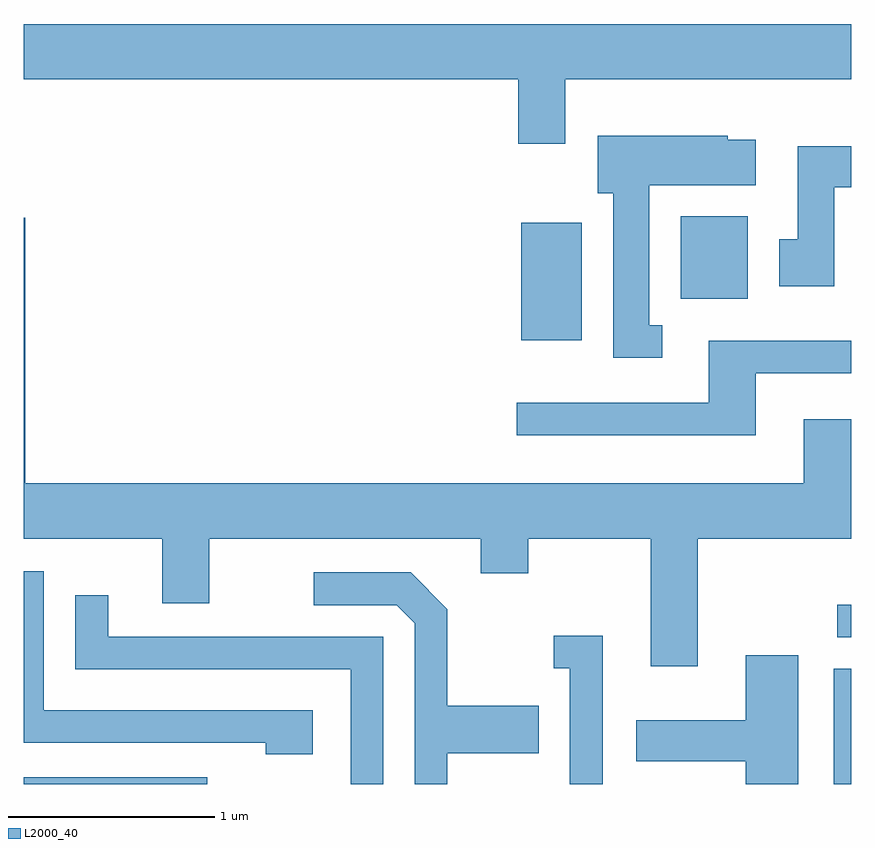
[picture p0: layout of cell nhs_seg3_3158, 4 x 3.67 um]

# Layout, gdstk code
import gdstk
lib = gdstk.Library(unit=1e-6, precision=1e-09)
def R(c, l, rs):  # rectangles x0, y0, x1, y1
    for r in rs: c.add(gdstk.rectangle(r[:2], r[2:], *l))
def P(c, l, *ps):  # polygons
    for p in ps: c.add(gdstk.Polygon(p, *l))
L2000_40 = (2000, 40)

nhs_seg3_3158 = lib.new_cell('nhs_seg3_3158')
R(nhs_seg3_3158, L2000_40, [(277.611,1175.892,278.498,1175.924), (281.526,1175.892,281.611,1176.449), (281.543,1176.601,281.611,1176.759), (280.016,1178.036,280.309,1178.604), (280.786,1178.236,281.109,1178.634)])
P(nhs_seg3_3158, L2000_40, [(280.229,1179.296),(281.611,1179.296),(281.611,1179.564),(277.611,1179.564),(277.611,1179.296),(280.001,1179.296),(280.001,1178.986),(280.229,1178.986)],
  [(280.698,1178.109),(280.634,1178.109),(280.634,1178.786),(281.149,1178.786),(281.149,1179.004),(281.014,1179.004),(281.014,1179.024),(280.386,1179.024),(280.386,1178.746),(280.461,1178.746),(280.461,1177.951),(280.698,1177.951)],
  [(281.529,1178.776),(281.611,1178.776),(281.611,1178.974),(281.351,1178.974),(281.351,1178.524),(281.261,1178.524),(281.261,1178.296),(281.529,1178.296)],
  [(280.869,1177.076),(281.611,1177.076),(281.611,1177.344),(281.609,1177.344),(281.609,1177.654),(281.381,1177.654),(281.381,1177.344),(277.619,1177.344),(277.619,1178.629),(277.611,1178.629),(277.611,1177.076),(278.281,1177.076),(278.281,1176.766),(278.509,1176.766),(278.509,1177.076),(279.821,1177.076),(279.821,1176.911),(280.049,1176.911),(280.049,1177.076),(280.641,1177.076),(280.641,1176.461),(280.869,1176.461)],
  [(281.149,1177.876),(281.611,1177.876),(281.611,1178.034),(280.921,1178.034),(280.921,1177.734),(279.993,1177.734),(279.993,1177.576),(281.149,1177.576)],
  [(279.009,1176.249),(277.709,1176.249),(277.709,1176.919),(277.611,1176.919),(277.611,1176.091),(278.781,1176.091),(278.781,1176.036),(279.009,1176.036)],
  [(279.659,1176.041),(280.099,1176.041),(280.099,1176.269),(279.659,1176.269),(279.659,1176.737),(279.482,1176.914),(279.013,1176.914),(279.013,1176.756),(279.414,1176.756),(279.501,1176.669),(279.501,1175.892),(279.659,1175.892)],
  [(279.349,1176.604),(278.019,1176.604),(278.019,1176.803),(277.861,1176.803),(277.861,1176.446),(279.191,1176.446),(279.191,1175.892),(279.349,1175.892)],
  [(280.409,1176.609),(280.173,1176.609),(280.173,1176.451),(280.251,1176.451),(280.251,1175.892),(280.409,1175.892)],
  [(281.354,1176.514),(281.101,1176.514),(281.101,1176.199),(280.571,1176.199),(280.571,1176.001),(281.101,1176.001),(281.101,1175.892),(281.354,1175.892)])

lib.write_gds('nhs_seg3_3158.gds')
